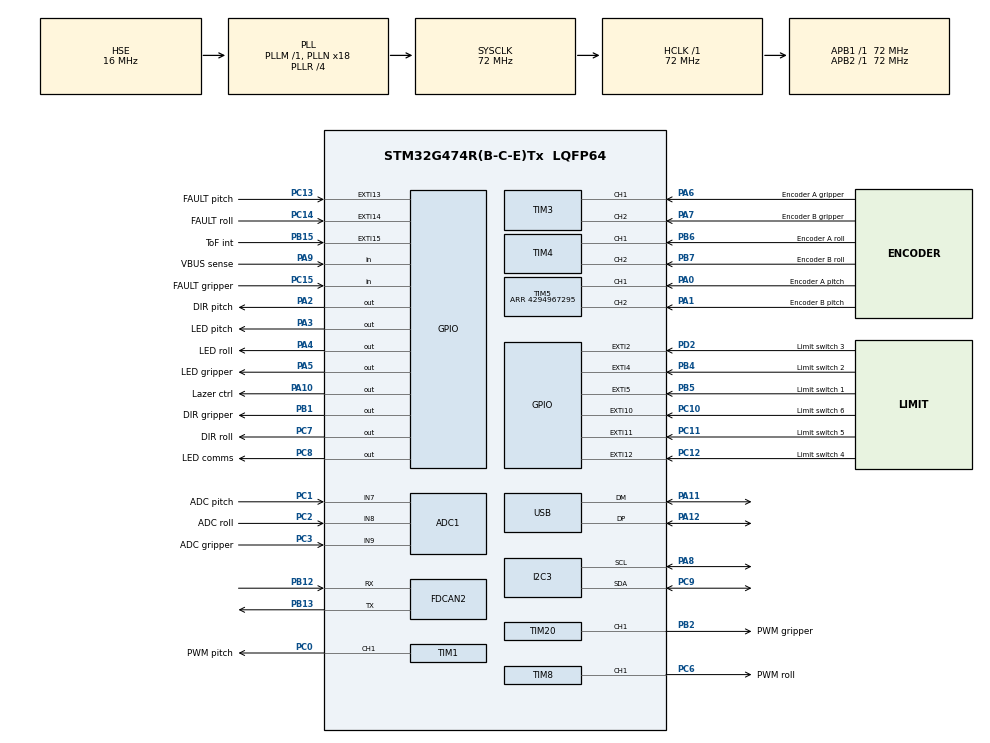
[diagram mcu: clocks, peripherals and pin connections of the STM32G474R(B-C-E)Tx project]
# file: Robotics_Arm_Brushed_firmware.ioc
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ADC1.Channel-7\#ChannelRegularConversion=ADC_CHANNEL_7
ADC1.NbrOfConversionFlag=1
ADC1.OffsetNumber-7\#ChannelRegularConversion=ADC_OFFSET_NONE
ADC1.Rank-7\#ChannelRegularConversion=1
ADC1.SamplingTime-7\#ChannelRegularConversion=ADC_SAMPLETIME_2CYCLES_5
ADC1.master=1
FDCAN2.AutoRetransmission=DISABLE
FDCAN2.CalculateBaudRateNominal=500000
FDCAN2.CalculateTimeBitNominal=2000
FDCAN2.CalculateTimeQuantumNominal=125.0
FDCAN2.DataPrescaler=5
FDCAN2.DataSyncJumpWidth=3
FDCAN2.DataTimeSeg1=13
FDCAN2.DataTimeSeg2=2
FDCAN2.FrameFormat=FDCAN_FRAME_CLASSIC
FDCAN2.NominalPrescaler=2
FDCAN2.NominalSyncJumpWidth=3
FDCAN2.NominalTimeSeg1=13
FDCAN2.NominalTimeSeg2=2
FDCAN2.StdFiltersNbr=1
FDCAN2.TransmitPause=ENABLE
I2C3.Timing=0x10C18DCC
Mcu.Family=STM32G4
Mcu.Name=STM32G474R(B-C-E)Tx
Mcu.Package=LQFP64
NVIC.EXTI15_10_IRQn=true\:0\:0\:false\:false\:true\:true\:true\:true
NVIC.EXTI2_IRQn=true\:0\:0\:false\:false\:true\:true\:true\:true
NVIC.EXTI4_IRQn=true\:0\:0\:false\:false\:true\:true\:true\:true
NVIC.EXTI9_5_IRQn=true\:0\:0\:false\:false\:true\:true\:true\:true
NVIC.FDCAN2_IT0_IRQn=true\:0\:0\:false\:false\:true\:true\:true\:true
NVIC.FDCAN2_IT1_IRQn=true\:0\:0\:false\:false\:true\:true\:true\:true
NVIC.PriorityGroup=NVIC_PRIORITYGROUP_4
NVIC.TIM3_IRQn=true\:0\:0\:false\:false\:true\:true\:true\:true
NVIC.TIM4_IRQn=true\:0\:0\:false\:false\:true\:true\:true\:true
NVIC.TIM5_IRQn=true\:0\:0\:false\:false\:true\:true\:true\:true
NVIC.USB_HP_IRQn=true\:0\:0\:false\:false\:true\:true\:true\:true
NVIC.USB_LP_IRQn=true\:0\:0\:false\:false\:true\:true\:true\:true
PA0.GPIO_Label=Encoder A pitch
PA0.Signal=S_TIM5_CH1
PA1.GPIO_Label=Encoder B pitch
PA1.Signal=S_TIM5_CH2
PA10.GPIO_Label=Lazer ctrl
PA10.Signal=GPIO_Output
PA11.Mode=Device
PA11.Signal=USB_DM
PA12.Mode=Device
PA12.Signal=USB_DP
PA13.Mode=Trace_Asynchronous_SW
PA13.Signal=SYS_JTMS-SWDIO
PA14.Mode=Trace_Asynchronous_SW
PA14.Signal=SYS_JTCK-SWCLK
PA2.GPIO_Label=DIR pitch
PA2.Signal=GPIO_Output
PA3.GPIO_Label=LED pitch
PA3.GPIO_PuPd=GPIO_NOPULL
PA3.Signal=GPIO_Output
PA4.GPIO_Label=LED roll
PA4.Signal=GPIO_Output
PA5.GPIO_Label=LED gripper
PA5.GPIO_PuPd=GPIO_NOPULL
PA5.Signal=GPIO_Output
PA6.GPIO_Label=Encoder A gripper
PA6.Signal=S_TIM3_CH1
PA7.GPIO_Label=Encoder B gripper
PA7.Signal=S_TIM3_CH2
PA8.Mode=I2C
PA8.Signal=I2C3_SCL
PA9.GPIO_Label=VBUS sense
PA9.Signal=GPIO_Input
PB1.GPIO_Label=DIR gripper
PB1.Signal=GPIO_Output
PB12.Mode=FDCAN_Activate
PB12.Signal=FDCAN2_RX
PB13.Mode=FDCAN_Activate
PB13.Signal=FDCAN2_TX
PB15.GPIO_Label=ToF int
PB15.GPIO_PuPd=GPIO_NOPULL
PB15.Signal=GPXTI15
PB2.GPIO_Label=PWM gripper
PB2.Signal=S_TIM20_CH1
PB3.Mode=Trace_Asynchronous_SW
PB3.Signal=SYS_JTDO-SWO
PB4.GPIO_Label=Limit switch 2
PB4.GPIO_ModeDefaultEXTI=GPIO_MODE_IT_RISING
PB4.GPIO_PuPd=GPIO_PULLUP
PB4.Signal=GPXTI4
PB5.GPIO_Label=Limit switch 1
PB5.GPIO_ModeDefaultEXTI=GPIO_MODE_IT_RISING
PB5.GPIO_PuPd=GPIO_PULLUP
PB5.Signal=GPXTI5
PB6.GPIO_Label=Encoder A roll
PB6.Signal=S_TIM4_CH1
PB7.GPIO_Label=Encoder B roll
PB7.Signal=S_TIM4_CH2
PC0.GPIO_Label=PWM pitch
PC0.Signal=S_TIM1_CH1
PC1.GPIO_Label=ADC pitch
PC1.Mode=IN7-Single-Ended
PC1.Signal=ADC1_IN7
PC10.GPIO_Label=Limit switch 6
PC10.GPIO_ModeDefaultEXTI=GPIO_MODE_IT_RISING
PC10.GPIO_PuPd=GPIO_PULLUP
PC10.Signal=GPXTI10
PC11.GPIO_Label=Limit switch 5
PC11.GPIO_ModeDefaultEXTI=GPIO_MODE_IT_RISING
PC11.GPIO_PuPd=GPIO_PULLUP
PC11.Signal=GPXTI11
PC12.GPIO_Label=Limit switch 4
PC12.GPIO_ModeDefaultEXTI=GPIO_MODE_IT_RISING
PC12.GPIO_PuPd=GPIO_PULLUP
PC12.Signal=GPXTI12
PC13.GPIO_Label=FAULT pitch
PC13.Signal=GPXTI13
PC14-OSC32_IN.GPIO_Label=FAULT roll
PC14-OSC32_IN.Signal=GPXTI14
PC15-OSC32_OUT.GPIO_Label=FAULT gripper
PC15-OSC32_OUT.Signal=GPIO_Input
PC2.GPIO_Label=ADC roll
PC2.Mode=IN8-Single-Ended
PC2.Signal=ADC1_IN8
PC3.GPIO_Label=ADC gripper
PC3.Mode=IN9-Single-Ended
PC3.Signal=ADC1_IN9
PC6.GPIO_Label=PWM roll
PC6.Signal=S_TIM8_CH1
PC7.GPIO_Label=DIR roll
PC7.Signal=GPIO_Output
PC8.GPIO_Label=LED comms
PC8.Signal=GPIO_Output
PC9.Mode=I2C
PC9.Signal=I2C3_SDA
PD2.GPIO_Label=Limit switch 3
PD2.GPIO_ModeDefaultEXTI=GPIO_MODE_IT_RISING
PD2.GPIO_PuPd=GPIO_PULLUP
PD2.Signal=GPXTI2
PF0-OSC_IN.Mode=HSE-External-Oscillator
PF0-OSC_IN.Signal=RCC_OSC_IN
PF1-OSC_OUT.Mode=HSE-External-Oscillator
PF1-OSC_OUT.Signal=RCC_OSC_OUT
ProjectManager.HeapSize=0x200
ProjectManager.StackSize=0x400
ProjectManager.TargetToolchain=CMake
RCC.ADC12Freq_Value=72000000
RCC.ADC345Freq_Value=72000000
RCC.AHBFreq_Value=72000000
RCC.APB1Freq_Value=72000000
RCC.APB1TimFreq_Value=72000000
RCC.APB2Freq_Value=72000000
RCC.APB2TimFreq_Value=72000000
RCC.CortexFreq_Value=72000000
RCC.EXTERNAL_CLOCK_VALUE=12288000
RCC.FDCANCLockSelection=RCC_FDCANCLKSOURCE_HSE
RCC.HCLKFreq_Value=72000000
RCC.HSE_VALUE=16000000
RCC.HSI48_VALUE=48000000
RCC.HSI_VALUE=16000000
RCC.LSE_VALUE=32768
RCC.PLLN=18
RCC.PLLQ=RCC_PLLQ_DIV6
RCC.PLLR=RCC_PLLR_DIV4
RCC.PLLSourceVirtual=RCC_PLLSOURCE_HSE
RCC.SYSCLKFreq_VALUE=72000000
RCC.SYSCLKSource=RCC_SYSCLKSOURCE_PLLCLK
RCC.USBFreq_Value=48000000
RCC.VCOOutputFreq_Value=288000000
SH.S_TIM1_CH1.0=TIM1_CH1,PWM Generation1 CH1
SH.S_TIM20_CH1.0=TIM20_CH1,PWM Generation1 CH1
SH.S_TIM3_CH1.0=TIM3_CH1,Encoder_Interface
SH.S_TIM3_CH2.0=TIM3_CH2,Encoder_Interface
SH.S_TIM4_CH1.0=TIM4_CH1,Encoder_Interface
SH.S_TIM4_CH2.0=TIM4_CH2,Encoder_Interface
SH.S_TIM5_CH1.0=TIM5_CH1,Encoder_Interface
SH.S_TIM5_CH2.0=TIM5_CH2,Encoder_Interface
SH.S_TIM8_CH1.0=TIM8_CH1,PWM Generation1 CH1
TIM1.Channel-PWM\ Generation1\ CH1=TIM_CHANNEL_1
TIM1.PeriodNoDither=4499
TIM20.Channel-PWM\ Generation1\ CH1=TIM_CHANNEL_1
TIM20.PeriodNoDither=4499
TIM20.Prescaler=0
TIM3.EncoderMode=TIM_ENCODERMODE_TI12
TIM3.IC2Filter=5
TIM4.EncoderMode=TIM_ENCODERMODE_TI12
TIM4.IC2Filter=5
TIM5.EncoderMode=TIM_ENCODERMODE_TI12
TIM5.IC1Filter=5
TIM5.PeriodNoDither=4294967295
TIM8.Channel-PWM\ Generation1\ CH1=TIM_CHANNEL_1
TIM8.PeriodNoDither=4499
VP_SYS_VS_DBSignals.Mode=DisableDeadBatterySignals
VP_TIM20_VS_ClockSourceINT.Mode=Internal
VP_TIM2_VS_ClockSourceINT.Mode=Internal
board=custom

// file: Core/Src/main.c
/* USER CODE BEGIN Header */
/**
  ******************************************************************************
  * @file           : main.c
  * @brief          : Main program body
  ******************************************************************************
  * @attention
  *
  * Copyright (c) 2026 STMicroelectronics.
  * All rights reserved.
  *
  * This software is licensed under terms that can be found in the LICENSE file
  * in the root directory of this software component.
  * If no LICENSE file comes with this software, it is provided AS-IS.
  *
  ******************************************************************************
  */
/* USER CODE END Header */
#include "main.h"

/* USER CODE BEGIN Includes */
#include "calibration.h"
#include "CAN_processing.h"
#include "motorControl.h"
#include "encoder.h"
#include "pid.h" // use arguments to pass the specific motor used?
#include "rosjam.h"

/* USER CODE END Includes */

ADC_HandleTypeDef hadc1;

FDCAN_HandleTypeDef hfdcan2;

I2C_HandleTypeDef hi2c3;

TIM_HandleTypeDef htim1;
TIM_HandleTypeDef htim2;
TIM_HandleTypeDef htim3;
TIM_HandleTypeDef htim4;
TIM_HandleTypeDef htim5;
TIM_HandleTypeDef htim8;
TIM_HandleTypeDef htim20;

PCD_HandleTypeDef hpcd_USB_FS;

/* USER CODE BEGIN PV */

//for CAN
FDCAN_RxHeaderTypeDef RxHeader; //header for receiving msgs
uint8_t RxData[64]; //receiver data for CANFD: 64 bits

/* USER CODE END PV */

void SystemClock_Config(void);
static void MX_GPIO_Init(void);
static void MX_ADC1_Init(void);
static void MX_FDCAN2_Init(void);
static void MX_TIM1_Init(void);
static void MX_TIM2_Init(void);
static void MX_TIM3_Init(void);
static void MX_TIM5_Init(void);
static void MX_TIM20_Init(void);
static void MX_USB_PCD_Init(void);
static void MX_I2C3_Init(void);
static void MX_TIM4_Init(void);
static void MX_TIM8_Init(void);

/* USER CODE BEGIN 0 */
Motor * all_motors_list[NB_MOTORS];

int CAN_flag = 0;
int LMSW1_flag_pitch_up = 0;
int LMSW2_flag_pitch_down = 0;
int LMSW5_flag_roll = 0;
int LMSW6_flag_gripper = 0;

volatile uint32_t curr_goal_angle = 3600; //testing only

/* USER CODE END 0 */

int main(void)
{

  /* MCU Configuration--------------------------------------------------------*/

  /* Reset of all peripherals, Initializes the Flash interface and the Systick. */
  HAL_Init();

  /* Configure the system clock */
  SystemClock_Config();

  /* Initialize all configured peripherals */
  MX_GPIO_Init();
  MX_ADC1_Init();
  MX_FDCAN2_Init();
  MX_TIM1_Init();
  MX_TIM2_Init();
  MX_TIM3_Init();
  MX_TIM5_Init();
  MX_TIM20_Init();
  MX_USB_PCD_Init();
  MX_I2C3_Init();
  MX_TIM4_Init();
  MX_TIM8_Init();
  /* USER CODE BEGIN 2 */

  //initialize motors for all 3 motors
  Motor gripper_motor;
  Motor pitch_motor;
  Motor roll_motor;

  Motor_Encoding_Struct gripper_encoding;
  Motor_Encoding_Struct pitch_encoding;
  Motor_Encoding_Struct roll_encoding;

  /*
   * (int encoder_max_counts, int lm_sw_reset_counts, GPIO_TypeDef* limit_port, uint16_t limit_pin)
   * - encoder max counts: Find the one specific with gear ratio of motors (i.e. more than 1 MAX_COUNT)
   * - limit switch reset counts: depends how angles defined -- corresponds to 180
   */

  //encoder not used for these 2 motors during comp ; current limit switch limit set at max counts since should not be limited at all for COMP 2026
  motor_encoding_struct_init(&gripper_encoding, 33024, 66536, 0);
  //this encoder is connected to a 32-bit timer, max it can take is 4294967296 (long int)
  motor_encoding_struct_init(&pitch_encoding, 33024, 66536, 0);

  //frm the steering motor; 33024 counts for 1 revolution; roll used fr arm's pitch; pitch maxes at 45 degrees + offset + 1(fr mod capping)  ESTIMATED !! TO CHANGE WHEN ON ARM
  motor_encoding_struct_init(&roll_encoding, 33024, 34025, 1000);

  /* (Motor* motor, TIM_TypeDef * pwm, TIM_TypeDef * encoder, MotorName motorName,
   * 		GPIO_TypeDef* DIR_port, uint16_t DIR_pin, int kPw, int kDw)
   * - motorName: as defined by the motorName enum.
   * - kPw; // proportional gain (how far away from goal)
   * - kDw; //derivative gain (smoothing)
   */
  motor_struct_init(&gripper_motor, TIM20, TIM3, &gripper_encoding, 0, DIR_gripper_GPIO_Port, DIR_gripper_Pin, 7, 0);
  motor_struct_init(&roll_motor, TIM8, TIM4, &roll_encoding, 2, DIR_roll_GPIO_Port, DIR_roll_Pin, 7, 0);
  motor_struct_init(&pitch_motor, TIM1, TIM5, &pitch_encoding, 1, DIR_pitch_GPIO_Port, DIR_pitch_Pin, 7, 0);

  all_motors_list[0] = &gripper_motor;
  all_motors_list[1] = &roll_motor;
  all_motors_list[2] = &pitch_motor;

  //set up Encoders
  HAL_TIM_Encoder_Start(&htim3, TIM_CHANNEL_ALL); // gripper encoder
  HAL_TIM_Encoder_Start(&htim4, TIM_CHANNEL_ALL); // roll encoder
  HAL_TIM_Encoder_Start(&htim5, TIM_CHANNEL_ALL); // pitch encoder
  //TIM_CHANNEL_ALL: Enable both channel needed for encoder

  //Setup Motor PWM
  HAL_TIM_PWM_Start(&htim1, TIM_CHANNEL_1); // pitch PWM
  HAL_TIM_PWM_Start(&htim8, TIM_CHANNEL_1); // roll PWM
  HAL_TIM_PWM_Start(&htim20, TIM_CHANNEL_1);  // gripper PWM

  // For Driver, running in PH/EN mode, PWM port (EN) always to 1
  HAL_GPIO_WritePin(PWM_pitch_GPIO_Port, PWM_pitch_Pin, 1);   // EN/IN1 = 1
  HAL_GPIO_WritePin(PWM_roll_GPIO_Port, PWM_roll_Pin, 1);   // EN/IN1 = 1
  HAL_GPIO_WritePin(PWM_gripper_GPIO_Port, PWM_gripper_Pin, 1);   // EN/IN1 = 1

  // Initialize motor state

  //setting encoder positions
  //change depending on gear ratio of the motor
  /*
   * offset such that can go 180 right and 180 left without getting to 0 counts(- values)
   */

  gripper_motor.ENCODER_type->CNT = 0; //gripper
  pitch_motor.ENCODER_type->CNT = 0; //pitch
  //starting counts at offset to be able to go backwards
  roll_motor.ENCODER_type->CNT = roll_encoding.offset; //roll

  set_counts(&gripper_encoding, 0);
  set_counts(&pitch_encoding, 0);
  //set program's counts to the offset value too
  set_counts(&roll_encoding, roll_encoding.offset);

  set_motor_speed_raw(&gripper_motor, 0);
  set_motor_speed_raw(&pitch_motor, 0);
  set_motor_speed_raw(&roll_motor, 0);

  //change to set directions for all 3 motors
  set_motor_direction(&gripper_motor, 1);
  set_motor_direction(&pitch_motor, 1);
  set_motor_direction(&roll_motor, 1);

//CAN NOT USED IN CURRENT ITERATION DUE TO ISSUES ON BOARD; UNABLE TO DO CAN

  	  // // CAN initialization

  	  // // Configure accept-all filter for standard IDs into FIFO0 /
      // FDCAN_FilterTypeDef filter;
      // filter.IdType = FDCAN_STANDARD_ID;
      // //filter.IdType = FDCAN_CLASSIC_CAN;
      // filter.FilterIndex = 0;
      // filter.FilterType = FDCAN_FILTER_MASK;
      // filter.FilterConfig = FDCAN_FILTER_TO_RXFIFO0;
      // filter.FilterID1 = 0x000; // ID pattern: don't care /
      // filter.FilterID2 = 0x000; // Mask: 0 = all bits ignored = accept all /
      // if (HAL_FDCAN_ConfigFilter(&hfdcan2, &filter) != HAL_OK) {
      //     Error_Handler();
      // }

      // if (HAL_FDCAN_Start(&hfdcan2) != HAL_OK) {
      //     Error_Handler();
      // }

      // // Activate RX FIFO0 new message notification //
      // if (HAL_FDCAN_ActivateNotification(&hfdcan2, FDCAN_IT_RX_FIFO0_NEW_MESSAGE,
      //         0) != HAL_OK) {
      //     Error_Handler();
      // }

      // if (HAL_TIM_Base_Start_IT(&htim2) != HAL_OK) {
      //     Error_Handler();
      // }

  /* USER CODE END 2 */

  /* Infinite loop */
  /* USER CODE BEGIN WHILE */
  int LMSW1_buffer = 0;
  int LMSW2_buffer = 0;
  //int LMSW5_buffer = 0;
  //int LMSW6_buffer = 0;

  int LMSW1_isDebouncing = 0;
  int LMSW2_isDebouncing = 0;
  //int LMSW5_isDebouncing = 0;
  //int LMSW6_isDebouncing = 0;

  //Set gripper and roll port (actually connected to pitch) to not use PID
  gripper_motor.motor_state = FREE_MOVE;
  pitch_motor.motor_state = FREE_MOVE;
  roll_motor.motor_state = FREE_MOVE;

  setup_simple(); // usb comm

  HAL_GPIO_TogglePin(LED_comms_GPIO_Port, LED_comms_Pin);

  char usb_pid_goal[4];

  while (1)
  {
	  process_simple();

//	  //pitch
//
//
//		   //close pitch
//		   __HAL_TIM_SET_COMPARE(&htim1, TIM_CHANNEL_1, 4499);
//		   HAL_GPIO_WritePin(DIR_pitch_GPIO_Port, DIR_pitch_Pin, 0);
//
//		   HAL_Delay(2000);
//
//		   //stop gripper
//		   __HAL_TIM_SET_COMPARE(&htim1, TIM_CHANNEL_1, 0);
//
//		   HAL_Delay(2000);
//
//		   //open gripper
//		   __HAL_TIM_SET_COMPARE(&htim1, TIM_CHANNEL_1,  4499);
//		   HAL_GPIO_WritePin(DIR_pitch_GPIO_Port, DIR_pitch_Pin, 1);
//
//		   HAL_Delay(2000);
//
//		   //stop gripper
//		   __HAL_TIM_SET_COMPARE(&htim1, TIM_CHANNEL_1, 0);
//
//		   HAL_Delay(2000);
//
//	   //roll
//
//
//		   //close roll
//		   __HAL_TIM_SET_COMPARE(&htim8, TIM_CHANNEL_1, 4499);
//		   HAL_GPIO_WritePin(DIR_roll_GPIO_Port, DIR_roll_Pin, 1);
//
//		   HAL_Delay(2000);
//
//		   //stop roll
//		   __HAL_TIM_SET_COMPARE(&htim8, TIM_CHANNEL_1, 0);
//
//		   HAL_Delay(2000);
//
//		   //open roll
//		   __HAL_TIM_SET_COMPARE(&htim8, TIM_CHANNEL_1, 4499);
//		   HAL_GPIO_WritePin(DIR_roll_GPIO_Port, DIR_roll_Pin, 0);
//
//		   HAL_Delay(2000);
//
//		   //stop roll
//		   __HAL_TIM_SET_COMPARE(&htim8, TIM_CHANNEL_1, 0);
//
//		   HAL_Delay(2000);
//
//
//	   //gripper
//
//
//		   //close gripper
//		   __HAL_TIM_SET_COMPARE(&htim20, TIM_CHANNEL_1, 4499);
//		   HAL_GPIO_WritePin(DIR_gripper_GPIO_Port, DIR_gripper_Pin, 1);
//
//		   HAL_Delay(2000);
//
//		   //stop gripper
//		   __HAL_TIM_SET_COMPARE(&htim20, TIM_CHANNEL_1, 0);
//
//		   HAL_Delay(2000);
//
//		   //open gripper
//		   __HAL_TIM_SET_COMPARE(&htim20, TIM_CHANNEL_1, 4499);
//		   HAL_GPIO_WritePin(DIR_gripper_GPIO_Port, DIR_gripper_Pin, 0);
//
//		   HAL_Delay(2000);
//
//		   //stop gripper
//		   __HAL_TIM_SET_COMPARE(&htim20, TIM_CHANNEL_1, 0);
//
//		   HAL_Delay(2000);

	    char readchar = read_char();
	    if (readchar == 'c'){
	    	print_to_usb("close gripper\n");
	    	__HAL_TIM_SET_COMPARE(&htim20, TIM_CHANNEL_1, 4499);
	    	HAL_GPIO_WritePin(DIR_gripper_GPIO_Port, DIR_gripper_Pin, 0);
	    }else if (readchar == 'o'){
	    	print_to_usb("open gripper\n");
	    	__HAL_TIM_SET_COMPARE(&htim20, TIM_CHANNEL_1, 4499);
	    	HAL_GPIO_WritePin(DIR_gripper_GPIO_Port, DIR_gripper_Pin, 1);
	    }else if (readchar == 's'){
	    	print_to_usb("stop gripper\n");
	    	__HAL_TIM_SET_COMPARE(&htim20, TIM_CHANNEL_1, 0);

	    }else if (readchar == 'w'){
	    	print_to_usb("ccw roll\n");
	    	__HAL_TIM_SET_COMPARE(&htim1, TIM_CHANNEL_1, 4499);
	    	HAL_GPIO_WritePin(DIR_pitch_GPIO_Port, DIR_pitch_Pin, 1);
		}else if (readchar == 'd'){
			print_to_usb("cw roll\n");
			__HAL_TIM_SET_COMPARE(&htim1, TIM_CHANNEL_1, 4499);
			HAL_GPIO_WritePin(DIR_pitch_GPIO_Port, DIR_pitch_Pin, 0);
		}else if (readchar == 'r'){
			print_to_usb("stop roll\n");
			__HAL_TIM_SET_COMPARE(&htim1, TIM_CHANNEL_1, 0);

		}else if (readchar == 'p'){
			print_to_usb("pitch pid: \n");
			usb_pid_goal[0] = read_char();
			usb_pid_goal[1] = read_char();
			usb_pid_goal[2] = read_char();
			usb_pid_goal[3] = 0;

			double goal =  string_to_float(usb_pid_goal);
			char buf[6];

			float_to_string(goal, 1, buf, 6);

			print_to_usb(buf);
			setPIDGoalA(&roll_motor, goal);

		}else if (readchar == 'u'){

      if (roll_motor.motor_state == FREE_MOVE){
        print_to_usb("pitch up\n");
	    	__HAL_TIM_SET_COMPARE(&htim8, TIM_CHANNEL_1, 900);
	    	HAL_GPIO_WritePin(DIR_roll_GPIO_Port, DIR_roll_Pin, 1);

      }else{
        print_to_usb("pitch not in free moving mode\n");
      }

    }else if (readchar == 'i'){

      if (roll_motor.motor_state == FREE_MOVE){
        print_to_usb("pitch down\n");
	    	__HAL_TIM_SET_COMPARE(&htim8, TIM_CHANNEL_1, 900);
	    	HAL_GPIO_WritePin(DIR_roll_GPIO_Port, DIR_roll_Pin, 0);

      }else{
        print_to_usb("pitch not in free moving mode\n");
      }

    }else if (readchar == 'a'){
      if (roll_motor.motor_state == FREE_MOVE){
        print_to_usb("stop pitch\n");
			  __HAL_TIM_SET_COMPARE(&htim8, TIM_CHANNEL_1, 0);
      }else{
        print_to_usb("pitch not in free moving mode\n");
      }

    }else if (readchar == 'l'){
      print_to_usb("enable pid");
      CalibrateMotor(&roll_motor);

    }else if (readchar == 'm'){
      print_to_usb("disable pid");
      roll_motor.motor_state = FREE_MOVE;
    }

//	  // Process Message if available
//	  if (CAN_flag){
//
//		CAN_flag = 0;
//		//HAL_GPIO_TogglePin(LED_pitch_GPIO_Port, LED_pitch_Pin);
//		//HAL_GPIO_TogglePin(LED_comms_GPIO_Port , LED_comms_Pin);
//
//		//if (steering_state != CALIBRATION){
//		CAN_Parse_MSG(&RxHeader, RxData);
//		//}
//		// led pin to check msg processing working
//
//		//HAL_Delay(1000);
//	  }
//
//

	  if (LMSW1_flag_pitch_up){
		  int switch_state = HAL_GPIO_ReadPin(Limit_switch_1_GPIO_Port, Limit_switch_1_Pin);
			if (switch_state){
				LMSW1_isDebouncing = 1;// 1st trigger detected: following code for debouncing
			}

		  LMSW1_flag_pitch_up = 0;
	  }

	  if (LMSW1_isDebouncing){
		 //check that at–– least 32 consecutive readings of switch = 1
		 //ensures that the switch reading is stabilized
		 int current_switch_reading = HAL_GPIO_ReadPin(Limit_switch_1_GPIO_Port, Limit_switch_1_Pin);
			LMSW1_buffer = (LMSW1_buffer<<1) | current_switch_reading;

		 //only once stable switch reading that perform switch actions
		 if (LMSW1_buffer == 0xFFFFFFFF){
			LMSW1_isDebouncing = 0;
			LMSW1_buffer = 0;
			lmsw_pitch_up_recalibrate(&roll_motor); // actual action to do on switch
		 }
	  }

	  if (LMSW2_flag_pitch_down){
		  int switch_state = HAL_GPIO_ReadPin(Limit_switch_2_GPIO_Port, Limit_switch_2_Pin);
			if (switch_state){
				LMSW2_isDebouncing = 1;
			}
		  LMSW2_flag_pitch_down = 0;
	  }

	  if (LMSW2_isDebouncing){
	  		 //check that at–– least 32 consecutive readings of switch = 1
	  		 //ensures that the switch reading is stabilized
	  		 int current_switch_reading = HAL_GPIO_ReadPin(Limit_switch_2_GPIO_Port, Limit_switch_2_Pin);
	  			LMSW2_buffer = (LMSW2_buffer<<1) | current_switch_reading;

	  		 //only once stable switch reading that perform switch actions
	  		 if (LMSW2_buffer == 0xFFFFFFFF){
	  			LMSW2_isDebouncing = 0;
	  			LMSW2_buffer = 0;
	  			lmsw_pitch_down_recalibrate(&roll_motor); // actual action to do on switch
	  		 }
	  }

//
//	  if (LMSW5_flag_roll){
//		  int switch_state = HAL_GPIO_ReadPin(Limit_switch_5_GPIO_Port, Limit_switch_5_Pin);
//			if (!switch_state){
//				LMSW5_isDebouncing = 1;
//			}
//		  LMSW5_flag_roll = 0;
//	  }
//	  if (LMSW5_isDebouncing){
//	  		 //check that at–– least 32 consecutive readings of switch = 1
//	  		 //ensures that the switch reading is stabilized
//	  		 int current_switch_reading = HAL_GPIO_ReadPin(Limit_switch_5_GPIO_Port, Limit_switch_5_Pin);
//	  			LMSW5_buffer = (LMSW5_buffer<<1) | current_switch_reading;
//
//	  		 //only once stable switch reading that perform switch actions
//	  		 if (LMSW5_buffer == 0xFFFFFFFF){
//	  			LMSW5_isDebouncing = 0;
//	  			LMSW5_buffer = 0;
//	  			lmsw_roll_recalibrate(&roll_motor); // actual action to do on switch
//	  		 }
//	  }
//
//
//	  if (LMSW6_flag_gripper){
//		  int switch_state = HAL_GPIO_ReadPin(Limit_switch_6_GPIO_Port, Limit_switch_6_Pin);
//			if (!switch_state){
//				LMSW6_isDebouncing = 1;
//			}
//		  LMSW6_flag_gripper = 0;
//	  }
//
//	  if (LMSW6_isDebouncing){
//	  		 //check that at–– least 32 consecutive readings of switch = 1
//	  		 //ensures that the switch reading is stabilized
//	  		 int current_switch_reading = HAL_GPIO_ReadPin(Limit_switch_6_GPIO_Port, Limit_switch_6_Pin);
//	  			LMSW6_buffer = (LMSW6_buffer<<1) | current_switch_reading;
//
//	  		 //only once stable switch reading that perform switch actions
//	  		 if (LMSW6_buffer == 0xFFFFFFFF){
//	  			LMSW6_isDebouncing = 0;
//	  			LMSW6_buffer = 0;
//	  			lmsw_gripper_recalibrate(&gripper_motor); // actual action to do on switch
//	  		 }
//	  }

    /* USER CODE END WHILE */

  }
}

void SystemClock_Config(void)
{
  RCC_OscInitTypeDef RCC_OscInitStruct = {0};
  RCC_ClkInitTypeDef RCC_ClkInitStruct = {0};

  /** Configure the main internal regulator output voltage
  */
  HAL_PWREx_ControlVoltageScaling(PWR_REGULATOR_VOLTAGE_SCALE1);

  /** Initializes the RCC Oscillators according to the specified parameters
  * in the RCC_OscInitTypeDef structure.
  */
  RCC_OscInitStruct.OscillatorType = RCC_OSCILLATORTYPE_HSE;
  RCC_OscInitStruct.HSEState = RCC_HSE_ON;
  RCC_OscInitStruct.PLL.PLLState = RCC_PLL_ON;
  RCC_OscInitStruct.PLL.PLLSource = RCC_PLLSOURCE_HSE;
  RCC_OscInitStruct.PLL.PLLM = RCC_PLLM_DIV1;
  RCC_OscInitStruct.PLL.PLLN = 18;
  RCC_OscInitStruct.PLL.PLLP = RCC_PLLP_DIV2;
  RCC_OscInitStruct.PLL.PLLQ = RCC_PLLQ_DIV6;
  RCC_OscInitStruct.PLL.PLLR = RCC_PLLR_DIV4;
  if (HAL_RCC_OscConfig(&RCC_OscInitStruct) != HAL_OK)
  {
    Error_Handler();
  }

  /** Initializes the CPU, AHB and APB buses clocks
  */
  RCC_ClkInitStruct.ClockType = RCC_CLOCKTYPE_HCLK|RCC_CLOCKTYPE_SYSCLK
                              |RCC_CLOCKTYPE_PCLK1|RCC_CLOCKTYPE_PCLK2;
  RCC_ClkInitStruct.SYSCLKSource = RCC_SYSCLKSOURCE_PLLCLK;
  RCC_ClkInitStruct.AHBCLKDivider = RCC_SYSCLK_DIV1;
  RCC_ClkInitStruct.APB1CLKDivider = RCC_HCLK_DIV1;
  RCC_ClkInitStruct.APB2CLKDivider = RCC_HCLK_DIV1;

  if (HAL_RCC_ClockConfig(&RCC_ClkInitStruct, FLASH_LATENCY_2) != HAL_OK)
  {
    Error_Handler();
  }
}

static void MX_ADC1_Init(void)
{

  ADC_MultiModeTypeDef multimode = {0};
  ADC_ChannelConfTypeDef sConfig = {0};

  /** Common config
  */
  hadc1.Instance = ADC1;
  hadc1.Init.ClockPrescaler = ADC_CLOCK_SYNC_PCLK_DIV2;
  hadc1.Init.Resolution = ADC_RESOLUTION_12B;
  hadc1.Init.DataAlign = ADC_DATAALIGN_RIGHT;
  hadc1.Init.GainCompensation = 0;
  hadc1.Init.ScanConvMode = ADC_SCAN_DISABLE;
  hadc1.Init.EOCSelection = ADC_EOC_SINGLE_CONV;
  hadc1.Init.LowPowerAutoWait = DISABLE;
  hadc1.Init.ContinuousConvMode = DISABLE;
  hadc1.Init.NbrOfConversion = 1;
  hadc1.Init.DiscontinuousConvMode = DISABLE;
  hadc1.Init.ExternalTrigConv = ADC_SOFTWARE_START;
  hadc1.Init.ExternalTrigConvEdge = ADC_EXTERNALTRIGCONVEDGE_NONE;
  hadc1.Init.DMAContinuousRequests = DISABLE;
  hadc1.Init.Overrun = ADC_OVR_DATA_PRESERVED;
  hadc1.Init.OversamplingMode = DISABLE;
  if (HAL_ADC_Init(&hadc1) != HAL_OK)
  {
    Error_Handler();
  }

  /** Configure the ADC multi-mode
  */
  multimode.Mode = ADC_MODE_INDEPENDENT;
  if (HAL_ADCEx_MultiModeConfigChannel(&hadc1, &multimode) != HAL_OK)
  {
    Error_Handler();
  }

  /** Configure Regular Channel
  */
  sConfig.Channel = ADC_CHANNEL_7;
  sConfig.Rank = ADC_REGULAR_RANK_1;
  sConfig.SamplingTime = ADC_SAMPLETIME_2CYCLES_5;
  sConfig.SingleDiff = ADC_SINGLE_ENDED;
  sConfig.OffsetNumber = ADC_OFFSET_NONE;
  sConfig.Offset = 0;
  if (HAL_ADC_ConfigChannel(&hadc1, &sConfig) != HAL_OK)
  {
    Error_Handler();
  }

}

static void MX_FDCAN2_Init(void)
{

  hfdcan2.Instance = FDCAN2;
  hfdcan2.Init.ClockDivider = FDCAN_CLOCK_DIV1;
  hfdcan2.Init.FrameFormat = FDCAN_FRAME_CLASSIC;
  hfdcan2.Init.Mode = FDCAN_MODE_NORMAL;
  hfdcan2.Init.AutoRetransmission = DISABLE;
  hfdcan2.Init.TransmitPause = ENABLE;
  hfdcan2.Init.ProtocolException = DISABLE;
  hfdcan2.Init.NominalPrescaler = 2;
  hfdcan2.Init.NominalSyncJumpWidth = 3;
  hfdcan2.Init.NominalTimeSeg1 = 13;
  hfdcan2.Init.NominalTimeSeg2 = 2;
  hfdcan2.Init.DataPrescaler = 5;
  hfdcan2.Init.DataSyncJumpWidth = 3;
  hfdcan2.Init.DataTimeSeg1 = 13;
  hfdcan2.Init.DataTimeSeg2 = 2;
  hfdcan2.Init.StdFiltersNbr = 1;
  hfdcan2.Init.ExtFiltersNbr = 0;
  hfdcan2.Init.TxFifoQueueMode = FDCAN_TX_FIFO_OPERATION;
  if (HAL_FDCAN_Init(&hfdcan2) != HAL_OK)
  {
    Error_Handler();
  }

}

static void MX_I2C3_Init(void)
{

  hi2c3.Instance = I2C3;
  hi2c3.Init.Timing = 0x10C18DCC;
  hi2c3.Init.OwnAddress1 = 0;
  hi2c3.Init.AddressingMode = I2C_ADDRESSINGMODE_7BIT;
  hi2c3.Init.DualAddressMode = I2C_DUALADDRESS_DISABLE;
  hi2c3.Init.OwnAddress2 = 0;
  hi2c3.Init.OwnAddress2Masks = I2C_OA2_NOMASK;
  hi2c3.Init.GeneralCallMode = I2C_GENERALCALL_DISABLE;
  hi2c3.Init.NoStretchMode = I2C_NOSTRETCH_DISABLE;
  if (HAL_I2C_Init(&hi2c3) != HAL_OK)
  {
    Error_Handler();
  }

  /** Configure Analogue filter
  */
  if (HAL_I2CEx_ConfigAnalogFilter(&hi2c3, I2C_ANALOGFILTER_ENABLE) != HAL_OK)
  {
    Error_Handler();
  }

  /** Configure Digital filter
  */
  if (HAL_I2CEx_ConfigDigitalFilter(&hi2c3, 0) != HAL_OK)
  {
    Error_Handler();
  }

}

static void MX_TIM1_Init(void)
{

  TIM_MasterConfigTypeDef sMasterConfig = {0};
  TIM_OC_InitTypeDef sConfigOC = {0};
  TIM_BreakDeadTimeConfigTypeDef sBreakDeadTimeConfig = {0};

  htim1.Instance = TIM1;
  htim1.Init.Prescaler = 0;
  htim1.Init.CounterMode = TIM_COUNTERMODE_UP;
  htim1.Init.Period = 4499;
  htim1.Init.ClockDivision = TIM_CLOCKDIVISION_DIV1;
  htim1.Init.RepetitionCounter = 0;
  htim1.Init.AutoReloadPreload = TIM_AUTORELOAD_PRELOAD_DISABLE;
  if (HAL_TIM_PWM_Init(&htim1) != HAL_OK)
  {
    Error_Handler();
  }
  sMasterConfig.MasterOutputTrigger = TIM_TRGO_RESET;
  sMasterConfig.MasterOutputTrigger2 = TIM_TRGO2_RESET;
  sMasterConfig.MasterSlaveMode = TIM_MASTERSLAVEMODE_DISABLE;
  if (HAL_TIMEx_MasterConfigSynchronization(&htim1, &sMasterConfig) != HAL_OK)
  {
    Error_Handler();
  }
  sConfigOC.OCMode = TIM_OCMODE_PWM1;
  sConfigOC.Pulse = 0;
  sConfigOC.OCPolarity = TIM_OCPOLARITY_HIGH;
  sConfigOC.OCNPolarity = TIM_OCNPOLARITY_HIGH;
  sConfigOC.OCFastMode = TIM_OCFAST_DISABLE;
  sConfigOC.OCIdleState = TIM_OCIDLESTATE_RESET;
  sConfigOC.OCNIdleState = TIM_OCNIDLESTATE_RESET;
  if (HAL_TIM_PWM_ConfigChannel(&htim1, &sConfigOC, TIM_CHANNEL_1) != HAL_OK)
  {
    Error_Handler();
  }
  sBreakDeadTimeConfig.OffStateRunMode = TIM_OSSR_DISABLE;
  sBreakDeadTimeConfig.OffStateIDLEMode = TIM_OSSI_DISABLE;
  sBreakDeadTimeConfig.LockLevel = TIM_LOCKLEVEL_OFF;
  sBreakDeadTimeConfig.DeadTime = 0;
  sBreakDeadTimeConfig.BreakState = TIM_BREAK_DISABLE;
  sBreakDeadTimeConfig.BreakPolarity = TIM_BREAKPOLARITY_HIGH;
  sBreakDeadTimeConfig.BreakFilter = 0;
  sBreakDeadTimeConfig.BreakAFMode = TIM_BREAK_AFMODE_INPUT;
  sBreakDeadTimeConfig.Break2State = TIM_BREAK2_DISABLE;
  sBreakDeadTimeConfig.Break2Polarity = TIM_BREAK2POLARITY_HIGH;
  sBreakDeadTimeConfig.Break2Filter = 0;
  sBreakDeadTimeConfig.Break2AFMode = TIM_BREAK_AFMODE_INPUT;
  sBreakDeadTimeConfig.AutomaticOutput = TIM_AUTOMATICOUTPUT_DISABLE;
  if (HAL_TIMEx_ConfigBreakDeadTime(&htim1, &sBreakDeadTimeConfig) != HAL_OK)
  {
    Error_Handler();
  }
  HAL_TIM_MspPostInit(&htim1);

}

static void MX_TIM2_Init(void)
{

  TIM_ClockConfigTypeDef sClockSourceConfig = {0};
  TIM_MasterConfigTypeDef sMasterConfig = {0};

  htim2.Instance = TIM2;
  htim2.Init.Prescaler = 0;
  htim2.Init.CounterMode = TIM_COUNTERMODE_UP;
  htim2.Init.Period = 4294967295;
  htim2.Init.ClockDivision = TIM_CLOCKDIVISION_DIV1;
  htim2.Init.AutoReloadPreload = TIM_AUTORELOAD_PRELOAD_DISABLE;
  if (HAL_TIM_Base_Init(&htim2) != HAL_OK)
  {
    Error_Handler();
  }
  sClockSourceConfig.ClockSource = TIM_CLOCKSOURCE_INTERNAL;
  if (HAL_TIM_ConfigClockSource(&htim2, &sClockSourceConfig) != HAL_OK)
  {
    Error_Handler();
  }
  sMasterConfig.MasterOutputTrigger = TIM_TRGO_RESET;
  sMasterConfig.MasterSlaveMode = TIM_MASTERSLAVEMODE_DISABLE;
  if (HAL_TIMEx_MasterConfigSynchronization(&htim2, &sMasterConfig) != HAL_OK)
  {
    Error_Handler();
  }

}

static void MX_TIM3_Init(void)
{

  TIM_Encoder_InitTypeDef sConfig = {0};
  TIM_MasterConfigTypeDef sMasterConfig = {0};

  htim3.Instance = TIM3;
  htim3.Init.Prescaler = 0;
  htim3.Init.CounterMode = TIM_COUNTERMODE_UP;
  htim3.Init.Period = 65535;
  htim3.Init.ClockDivision = TIM_CLOCKDIVISION_DIV1;
  htim3.Init.AutoReloadPreload = TIM_AUTORELOAD_PRELOAD_DISABLE;
  sConfig.EncoderMode = TIM_ENCODERMODE_TI12;
  sConfig.IC1Polarity = TIM_ICPOLARITY_RISING;
  sConfig.IC1Selection = TIM_ICSELECTION_DIRECTTI;
  sConfig.IC1Prescaler = TIM_ICPSC_DIV1;
  sConfig.IC1Filter = 0;
  sConfig.IC2Polarity = TIM_ICPOLARITY_RISING;
  sConfig.IC2Selection = TIM_ICSELECTION_DIRECTTI;
  sConfig.IC2Prescaler = TIM_ICPSC_DIV1;
  sConfig.IC2Filter = 5;
  if (HAL_TIM_Encoder_Init(&htim3, &sConfig) != HAL_OK)
  {
    Error_Handler();
  }
  sMasterConfig.MasterOutputTrigger = TIM_TRGO_RESET;
  sMasterConfig.MasterSlaveMode = TIM_MASTERSLAVEMODE_DISABLE;
  if (HAL_TIMEx_MasterConfigSynchronization(&htim3, &sMasterConfig) != HAL_OK)
  {
    Error_Handler();
  }

}

static void MX_TIM4_Init(void)
{

  TIM_Encoder_InitTypeDef sConfig = {0};
  TIM_MasterConfigTypeDef sMasterConfig = {0};

  htim4.Instance = TIM4;
  htim4.Init.Prescaler = 0;
  htim4.Init.CounterMode = TIM_COUNTERMODE_UP;
  htim4.Init.Period = 65535;
  htim4.Init.ClockDivision = TIM_CLOCKDIVISION_DIV1;
  htim4.Init.AutoReloadPreload = TIM_AUTORELOAD_PRELOAD_DISABLE;
  sConfig.EncoderMode = TIM_ENCODERMODE_TI12;
  sConfig.IC1Polarity = TIM_ICPOLARITY_RISING;
  sConfig.IC1Selection = TIM_ICSELECTION_DIRECTTI;
  sConfig.IC1Prescaler = TIM_ICPSC_DIV1;
  sConfig.IC1Filter = 0;
  sConfig.IC2Polarity = TIM_ICPOLARITY_RISING;
  sConfig.IC2Selection = TIM_ICSELECTION_DIRECTTI;
  sConfig.IC2Prescaler = TIM_ICPSC_DIV1;
  sConfig.IC2Filter = 5;
  if (HAL_TIM_Encoder_Init(&htim4, &sConfig) != HAL_OK)
  {
    Error_Handler();
  }
  sMasterConfig.MasterOutputTrigger = TIM_TRGO_RESET;
  sMasterConfig.MasterSlaveMode = TIM_MASTERSLAVEMODE_DISABLE;
  if (HAL_TIMEx_MasterConfigSynchronization(&htim4, &sMasterConfig) != HAL_OK)
  {
    Error_Handler();
  }

}

static void MX_TIM5_Init(void)
{

  TIM_Encoder_InitTypeDef sConfig = {0};
  TIM_MasterConfigTypeDef sMasterConfig = {0};

  htim5.Instance = TIM5;
  htim5.Init.Prescaler = 0;
  htim5.Init.CounterMode = TIM_COUNTERMODE_UP;
  htim5.Init.Period = 4294967295;
  htim5.Init.ClockDivision = TIM_CLOCKDIVISION_DIV1;
  htim5.Init.AutoReloadPreload = TIM_AUTORELOAD_PRELOAD_DISABLE;
  sConfig.EncoderMode = TIM_ENCODERMODE_TI12;
  sConfig.IC1Polarity = TIM_ICPOLARITY_RISING;
  sConfig.IC1Selection = TIM_ICSELECTION_DIRECTTI;
  sConfig.IC1Prescaler = TIM_ICPSC_DIV1;
  sConfig.IC1Filter = 5;
  sConfig.IC2Polarity = TIM_ICPOLARITY_RISING;
  sConfig.IC2Selection = TIM_ICSELECTION_DIRECTTI;
  sConfig.IC2Prescaler = TIM_ICPSC_DIV1;
  sConfig.IC2Filter = 0;
  if (HAL_TIM_Encoder_Init(&htim5, &sConfig) != HAL_OK)
  {
    Error_Handler();
  }
  sMasterConfig.MasterOutputTrigger = TIM_TRGO_RESET;
  sMasterConfig.MasterSlaveMode = TIM_MASTERSLAVEMODE_DISABLE;
  if (HAL_TIMEx_MasterConfigSynchronization(&htim5, &sMasterConfig) != HAL_OK)
  {
    Error_Handler();
  }

}

static void MX_TIM8_Init(void)
{

  TIM_MasterConfigTypeDef sMasterConfig = {0};
  TIM_OC_InitTypeDef sConfigOC = {0};
  TIM_BreakDeadTimeConfigTypeDef sBreakDeadTimeConfig = {0};

  htim8.Instance = TIM8;
  htim8.Init.Prescaler = 0;
  htim8.Init.CounterMode = TIM_COUNTERMODE_UP;
  htim8.Init.Period = 4499;
  htim8.Init.ClockDivision = TIM_CLOCKDIVISION_DIV1;
  htim8.Init.RepetitionCounter = 0;
  htim8.Init.AutoReloadPreload = TIM_AUTORELOAD_PRELOAD_DISABLE;
  if (HAL_TIM_PWM_Init(&htim8) != HAL_OK)
  {
    Error_Handler();
  }
  sMasterConfig.MasterOutputTrigger = TIM_TRGO_RESET;
  sMasterConfig.MasterOutputTrigger2 = TIM_TRGO2_RESET;
  sMasterConfig.MasterSlaveMode = TIM_MASTERSLAVEMODE_DISABLE;
  if (HAL_TIMEx_MasterConfigSynchronization(&htim8, &sMasterConfig) != HAL_OK)
  {
    Error_Handler();
  }
  sConfigOC.OCMode = TIM_OCMODE_PWM1;
  sConfigOC.Pulse = 0;
  sConfigOC.OCPolarity = TIM_OCPOLARITY_HIGH;
  sConfigOC.OCNPolarity = TIM_OCNPOLARITY_HIGH;
  sConfigOC.OCFastMode = TIM_OCFAST_DISABLE;
  sConfigOC.OCIdleState = TIM_OCIDLESTATE_RESET;
  sConfigOC.OCNIdleState = TIM_OCNIDLESTATE_RESET;
  if (HAL_TIM_PWM_ConfigChannel(&htim8, &sConfigOC, TIM_CHANNEL_1) != HAL_OK)
  {
    Error_Handler();
  }
  sBreakDeadTimeConfig.OffStateRunMode = TIM_OSSR_DISABLE;
  sBreakDeadTimeConfig.OffStateIDLEMode = TIM_OSSI_DISABLE;
  sBreakDeadTimeConfig.LockLevel = TIM_LOCKLEVEL_OFF;
  sBreakDeadTimeConfig.DeadTime = 0;
  sBreakDeadTimeConfig.BreakState = TIM_BREAK_DISABLE;
  sBreakDeadTimeConfig.BreakPolarity = TIM_BREAKPOLARITY_HIGH;
  sBreakDeadTimeConfig.BreakFilter = 0;
  sBreakDeadTimeConfig.BreakAFMode = TIM_BREAK_AFMODE_INPUT;
  sBreakDeadTimeConfig.Break2State = TIM_BREAK2_DISABLE;
  sBreakDeadTimeConfig.Break2Polarity = TIM_BREAK2POLARITY_HIGH;
  sBreakDeadTimeConfig.Break2Filter = 0;
  sBreakDeadTimeConfig.Break2AFMode = TIM_BREAK_AFMODE_INPUT;
  sBreakDeadTimeConfig.AutomaticOutput = TIM_AUTOMATICOUTPUT_DISABLE;
  if (HAL_TIMEx_ConfigBreakDeadTime(&htim8, &sBreakDeadTimeConfig) != HAL_OK)
  {
    Error_Handler();
  }
  HAL_TIM_MspPostInit(&htim8);

}

static void MX_TIM20_Init(void)
{

  TIM_ClockConfigTypeDef sClockSourceConfig = {0};
  TIM_MasterConfigTypeDef sMasterConfig = {0};
  TIM_OC_InitTypeDef sConfigOC = {0};
  TIM_BreakDeadTimeConfigTypeDef sBreakDeadTimeConfig = {0};

  htim20.Instance = TIM20;
  htim20.Init.Prescaler = 0;
  htim20.Init.CounterMode = TIM_COUNTERMODE_UP;
  htim20.Init.Period = 4499;
  htim20.Init.ClockDivision = TIM_CLOCKDIVISION_DIV1;
  htim20.Init.RepetitionCounter = 0;
  htim20.Init.AutoReloadPreload = TIM_AUTORELOAD_PRELOAD_DISABLE;
  if (HAL_TIM_Base_Init(&htim20) != HAL_OK)
  {
    Error_Handler();
  }
  sClockSourceConfig.ClockSource = TIM_CLOCKSOURCE_INTERNAL;
  if (HAL_TIM_ConfigClockSource(&htim20, &sClockSourceConfig) != HAL_OK)
  {
    Error_Handler();
  }
  if (HAL_TIM_PWM_Init(&htim20) != HAL_OK)
  {
    Error_Handler();
  }
  sMasterConfig.MasterOutputTrigger = TIM_TRGO_RESET;
  sMasterConfig.MasterOutputTrigger2 = TIM_TRGO2_RESET;
  sMasterConfig.MasterSlaveMode = TIM_MASTERSLAVEMODE_DISABLE;
  if (HAL_TIMEx_MasterConfigSynchronization(&htim20, &sMasterConfig) != HAL_OK)
  {
    Error_Handler();
  }
  sConfigOC.OCMode = TIM_OCMODE_PWM1;
  sConfigOC.Pulse = 0;
  sConfigOC.OCPolarity = TIM_OCPOLARITY_HIGH;
  sConfigOC.OCNPolarity = TIM_OCNPOLARITY_HIGH;
  sConfigOC.OCFastMode = TIM_OCFAST_DISABLE;
  sConfigOC.OCIdleState = TIM_OCIDLESTATE_RESET;
  sConfigOC.OCNIdleState = TIM_OCNIDLESTATE_RESET;
  if (HAL_TIM_PWM_ConfigChannel(&htim20, &sConfigOC, TIM_CHANNEL_1) != HAL_OK)
  {
    Error_Handler();
  }
  sBreakDeadTimeConfig.OffStateRunMode = TIM_OSSR_DISABLE;
  sBreakDeadTimeConfig.OffStateIDLEMode = TIM_OSSI_DISABLE;
  sBreakDeadTimeConfig.LockLevel = TIM_LOCKLEVEL_OFF;
  sBreakDeadTimeConfig.DeadTime = 0;
  sBreakDeadTimeConfig.BreakState = TIM_BREAK_DISABLE;
  sBreakDeadTimeConfig.BreakPolarity = TIM_BREAKPOLARITY_HIGH;
  sBreakDeadTimeConfig.BreakFilter = 0;
  sBreakDeadTimeConfig.BreakAFMode = TIM_BREAK_AFMODE_INPUT;
  sBreakDeadTimeConfig.Break2State = TIM_BREAK2_DISABLE;
  sBreakDeadTimeConfig.Break2Polarity = TIM_BREAK2POLARITY_HIGH;
  sBreakDeadTimeConfig.Break2Filter = 0;
  sBreakDeadTimeConfig.Break2AFMode = TIM_BREAK_AFMODE_INPUT;
  sBreakDeadTimeConfig.AutomaticOutput = TIM_AUTOMATICOUTPUT_DISABLE;
  if (HAL_TIMEx_ConfigBreakDeadTime(&htim20, &sBreakDeadTimeConfig) != HAL_OK)
  {
    Error_Handler();
  }
  HAL_TIM_MspPostInit(&htim20);

}

static void MX_USB_PCD_Init(void)
{

  hpcd_USB_FS.Instance = USB;
  hpcd_USB_FS.Init.dev_endpoints = 8;
  hpcd_USB_FS.Init.speed = PCD_SPEED_FULL;
  hpcd_USB_FS.Init.phy_itface = PCD_PHY_EMBEDDED;
  hpcd_USB_FS.Init.Sof_enable = DISABLE;
  hpcd_USB_FS.Init.low_power_enable = DISABLE;
  hpcd_USB_FS.Init.lpm_enable = DISABLE;
  hpcd_USB_FS.Init.battery_charging_enable = DISABLE;
  if (HAL_PCD_Init(&hpcd_USB_FS) != HAL_OK)
  {
    Error_Handler();
  }

}

static void MX_GPIO_Init(void)
{
  GPIO_InitTypeDef GPIO_InitStruct = {0};

  /* GPIO Ports Clock Enable */
  __HAL_RCC_GPIOC_CLK_ENABLE();
  __HAL_RCC_GPIOF_CLK_ENABLE();
  __HAL_RCC_GPIOA_CLK_ENABLE();
  __HAL_RCC_GPIOB_CLK_ENABLE();
  __HAL_RCC_GPIOD_CLK_ENABLE();

  /*Configure GPIO pin Output Level */
  HAL_GPIO_WritePin(GPIOA, DIR_pitch_Pin|LED_pitch_Pin|LED_roll_Pin|LED_gripper_Pin
                          |Lazer_ctrl_Pin, GPIO_PIN_RESET);

  /*Configure GPIO pin Output Level */
  HAL_GPIO_WritePin(DIR_gripper_GPIO_Port, DIR_gripper_Pin, GPIO_PIN_RESET);

  /*Configure GPIO pin Output Level */
  HAL_GPIO_WritePin(GPIOC, DIR_roll_Pin|LED_comms_Pin, GPIO_PIN_RESET);

  /*Configure GPIO pins : FAULT_pitch_Pin FAULT_roll_Pin */
  GPIO_InitStruct.Pin = FAULT_pitch_Pin|FAULT_roll_Pin;
  GPIO_InitStruct.Mode = GPIO_MODE_IT_RISING;
  GPIO_InitStruct.Pull = GPIO_NOPULL;
  HAL_GPIO_Init(GPIOC, &GPIO_InitStruct);

  /*Configure GPIO pin : FAULT_gripper_Pin */
  GPIO_InitStruct.Pin = FAULT_gripper_Pin;
  GPIO_InitStruct.Mode = GPIO_MODE_INPUT;
  GPIO_InitStruct.Pull = GPIO_NOPULL;
  HAL_GPIO_Init(FAULT_gripper_GPIO_Port, &GPIO_InitStruct);

  /*Configure GPIO pins : DIR_pitch_Pin LED_pitch_Pin LED_roll_Pin LED_gripper_Pin
                           Lazer_ctrl_Pin */
  GPIO_InitStruct.Pin = DIR_pitch_Pin|LED_pitch_Pin|LED_roll_Pin|LED_gripper_Pin
                          |Lazer_ctrl_Pin;
  GPIO_InitStruct.Mode = GPIO_MODE_OUTPUT_PP;
  GPIO_InitStruct.Pull = GPIO_NOPULL;
  GPIO_InitStruct.Speed = GPIO_SPEED_FREQ_LOW;
  HAL_GPIO_Init(GPIOA, &GPIO_InitStruct);

  /*Configure GPIO pin : DIR_gripper_Pin */
  GPIO_InitStruct.Pin = DIR_gripper_Pin;
  GPIO_InitStruct.Mode = GPIO_MODE_OUTPUT_PP;
  GPIO_InitStruct.Pull = GPIO_NOPULL;
  GPIO_InitStruct.Speed = GPIO_SPEED_FREQ_LOW;
  HAL_GPIO_Init(DIR_gripper_GPIO_Port, &GPIO_InitStruct);

  /*Configure GPIO pin : ToF_int_Pin */
  GPIO_InitStruct.Pin = ToF_int_Pin;
  GPIO_InitStruct.Mode = GPIO_MODE_IT_RISING;
  GPIO_InitStruct.Pull = GPIO_NOPULL;
  HAL_GPIO_Init(ToF_int_GPIO_Port, &GPIO_InitStruct);

  /*Configure GPIO pins : DIR_roll_Pin LED_comms_Pin */
  GPIO_InitStruct.Pin = DIR_roll_Pin|LED_comms_Pin;
  GPIO_InitStruct.Mode = GPIO_MODE_OUTPUT_PP;
  GPIO_InitStruct.Pull = GPIO_NOPULL;
  GPIO_InitStruct.Speed = GPIO_SPEED_FREQ_LOW;
  HAL_GPIO_Init(GPIOC, &GPIO_InitStruct);

  /*Configure GPIO pin : VBUS_sense_Pin */
  GPIO_InitStruct.Pin = VBUS_sense_Pin;
  GPIO_InitStruct.Mode = GPIO_MODE_INPUT;
  GPIO_InitStruct.Pull = GPIO_NOPULL;
  HAL_GPIO_Init(VBUS_sense_GPIO_Port, &GPIO_InitStruct);

  /*Configure GPIO pins : Limit_switch_6_Pin Limit_switch_5_Pin Limit_switch_4_Pin */
  GPIO_InitStruct.Pin = Limit_switch_6_Pin|Limit_switch_5_Pin|Limit_switch_4_Pin;
  GPIO_InitStruct.Mode = GPIO_MODE_IT_RISING;
  GPIO_InitStruct.Pull = GPIO_PULLUP;
  HAL_GPIO_Init(GPIOC, &GPIO_InitStruct);

  /*Configure GPIO pin : Limit_switch_3_Pin */
  GPIO_InitStruct.Pin = Limit_switch_3_Pin;
  GPIO_InitStruct.Mode = GPIO_MODE_IT_RISING;
  GPIO_InitStruct.Pull = GPIO_PULLUP;
  HAL_GPIO_Init(Limit_switch_3_GPIO_Port, &GPIO_InitStruct);

  /*Configure GPIO pin : Limit_switch_2_Pin */
  GPIO_InitStruct.Pin = Limit_switch_2_Pin;
  GPIO_InitStruct.Mode = GPIO_MODE_IT_RISING;
  GPIO_InitStruct.Pull = GPIO_PULLUP;
  HAL_GPIO_Init(Limit_switch_2_GPIO_Port, &GPIO_InitStruct);

  /*Configure GPIO pin : Limit_switch_1_Pin */
  GPIO_InitStruct.Pin = Limit_switch_1_Pin;
  GPIO_InitStruct.Mode = GPIO_MODE_IT_RISING;
  GPIO_InitStruct.Pull = GPIO_PULLUP;
  HAL_GPIO_Init(Limit_switch_1_GPIO_Port, &GPIO_InitStruct);

  /* EXTI interrupt init*/
  HAL_NVIC_SetPriority(EXTI2_IRQn, 0, 0);
  HAL_NVIC_EnableIRQ(EXTI2_IRQn);

  HAL_NVIC_SetPriority(EXTI4_IRQn, 0, 0);
  HAL_NVIC_EnableIRQ(EXTI4_IRQn);

  HAL_NVIC_SetPriority(EXTI9_5_IRQn, 0, 0);
  HAL_NVIC_EnableIRQ(EXTI9_5_IRQn);

  HAL_NVIC_SetPriority(EXTI15_10_IRQn, 0, 0);
  HAL_NVIC_EnableIRQ(EXTI15_10_IRQn);

}

/* USER CODE BEGIN 4 */

void HAL_FDCAN_RxFifo0Callback (FDCAN_HandleTypeDef *hfdcan, uint32_t RxFifo0ITs){
		//check that RX FIFO 0 received a new message
	  if((RxFifo0ITs & FDCAN_IT_RX_FIFO0_NEW_MESSAGE) != RESET)
	  {
	    /* Retrieve Rx messages from RX FIFO0, stores into RxHeader and RxData */
	    if (HAL_FDCAN_GetRxMessage(hfdcan, FDCAN_RX_FIFO0, &RxHeader, RxData) != HAL_OK)
	    {
	    Error_Handler();
	    }

	    //upon successful interrupt, the CAN flag is set high for main loop to catch
	    //HAL_GPIO_TogglePin(LED_comms_GPIO_Port , LED_comms_Pin);
	    CAN_flag = 1;

	  }
	}

void HAL_GPIO_EXTI_Callback(uint16_t GPIO_Pin){
	if (GPIO_Pin == Limit_switch_1_Pin){
		LMSW1_flag_pitch_up = 1;
	}else if (GPIO_Pin == Limit_switch_2_Pin){
		LMSW2_flag_pitch_down = 1;
	}else if (GPIO_Pin == Limit_switch_5_Pin){
		LMSW5_flag_roll = 1;
	}else if (GPIO_Pin == Limit_switch_6_Pin){
		LMSW6_flag_gripper = 1;
	}else{
		__NOP(); //callback problem
	}
}

/* USER CODE END 4 */

void Error_Handler(void)
{
  __disable_irq();
  while (1)
  {
  }
}
